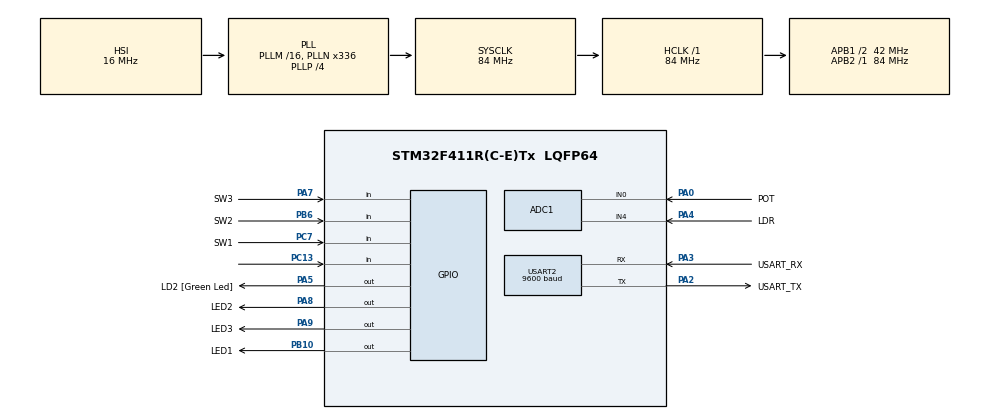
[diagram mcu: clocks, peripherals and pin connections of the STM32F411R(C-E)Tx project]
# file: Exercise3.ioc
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ADC1.Channel-1\#ChannelRegularConversion=ADC_CHANNEL_0
ADC1.NbrOfConversionFlag=1
ADC1.Rank-1\#ChannelRegularConversion=1
ADC1.SamplingTime-1\#ChannelRegularConversion=ADC_SAMPLETIME_3CYCLES
ADC1.master=1
IWDG.Prescaler=IWDG_PRESCALER_64
IWDG.Reload=2000-1
Mcu.Family=STM32F4
Mcu.Name=STM32F411R(C-E)Tx
Mcu.Package=LQFP64
NVIC.PriorityGroup=NVIC_PRIORITYGROUP_0
NVIC.TIM1_TRG_COM_TIM11_IRQn=true\:0\:0\:false\:false\:true\:true\:true\:true
NVIC.USART2_IRQn=true\:0\:0\:false\:false\:true\:true\:true\:true
PA0-WKUP.GPIO_Label=POT
PA0-WKUP.Signal=ADCx_IN0
PA13.GPIO_Label=TMS
PA13.Mode=Serial_Wire
PA13.Signal=SYS_JTMS-SWDIO
PA14.GPIO_Label=TCK
PA14.Mode=Serial_Wire
PA14.Signal=SYS_JTCK-SWCLK
PA2.GPIO_Label=USART_TX
PA2.Mode=Asynchronous
PA2.Signal=USART2_TX
PA3.GPIO_Label=USART_RX
PA3.Mode=Asynchronous
PA3.Signal=USART2_RX
PA4.GPIO_Label=LDR
PA4.Signal=ADCx_IN4
PA5.GPIO_Label=LD2 [Green Led]
PA5.Signal=GPIO_Output
PA7.GPIO_Label=SW3
PA7.Signal=GPIO_Input
PA8.GPIO_Label=LED2
PA8.Signal=GPIO_Output
PA9.GPIO_Label=LED3
PA9.Signal=GPIO_Output
PB10.GPIO_Label=LED1
PB10.Signal=GPIO_Output
PB3.GPIO_Label=SWO
PB3.Signal=SYS_JTDO-SWO
PB6.GPIO_Label=SW2
PB6.Signal=GPIO_Input
PC13-ANTI_TAMP.Signal=GPIO_Input
PC14-OSC32_IN.Mode=LSE-External-Oscillator
PC14-OSC32_IN.Signal=RCC_OSC32_IN
PC15-OSC32_OUT.Mode=LSE-External-Oscillator
PC15-OSC32_OUT.Signal=RCC_OSC32_OUT
PC7.GPIO_Label=SW1
PC7.Signal=GPIO_Input
PH0\ -\ OSC_IN.Mode=HSE-External-Clock-Source
PH0\ -\ OSC_IN.Signal=RCC_OSC_IN
PH1\ -\ OSC_OUT.Mode=HSE-External-Clock-Source
PH1\ -\ OSC_OUT.Signal=RCC_OSC_OUT
ProjectManager.HeapSize=0x200
ProjectManager.StackSize=0x400
ProjectManager.TargetToolchain=STM32CubeIDE
RCC.48MHZClocksFreq_Value=84000000
RCC.AHBFreq_Value=84000000
RCC.APB1CLKDivider=RCC_HCLK_DIV2
RCC.APB1Freq_Value=42000000
RCC.APB1TimFreq_Value=84000000
RCC.APB2Freq_Value=84000000
RCC.APB2TimFreq_Value=84000000
RCC.CortexFreq_Value=84000000
RCC.FLatency-AdvancedSettings=FLASH_LATENCY_2
RCC.HCLKFreq_Value=84000000
RCC.HSE_VALUE=8000000
RCC.HSI_VALUE=16000000
RCC.PLLN=336
RCC.PLLP=RCC_PLLP_DIV4
RCC.SYSCLKFreq_VALUE=84000000
RCC.SYSCLKSource=RCC_SYSCLKSOURCE_PLLCLK
RCC.VCOOutputFreq_Value=336000000
SH.ADCx_IN0.0=ADC1_IN0,IN0
SH.ADCx_IN4.0=ADC1_IN4,IN4
TIM11.Period=3700-1
TIM11.Prescaler=84-1
USART2.BaudRate=9600
USART2.VirtualMode=VM_ASYNC
VP_IWDG_VS_IWDG.Mode=IWDG_Activate
VP_TIM11_VS_ClockSourceINT.Mode=Enable_Timer
board=NUCLEO-F411RE

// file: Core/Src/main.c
/* USER CODE BEGIN Header */
/**
 ******************************************************************************
 * @file           : main.c
 * @brief          : Main program body
 ******************************************************************************
 * @attention
 *
 * Copyright (c) 2022 STMicroelectronics.
 * All rights reserved.
 *
 * This software is licensed under terms that can be found in the LICENSE file
 * in the root directory of this software component.
 * If no LICENSE file comes with this software, it is provided AS-IS.
 *
 ******************************************************************************
 */
/* USER CODE END Header */
#include "main.h"

 ADC_HandleTypeDef hadc1;

IWDG_HandleTypeDef hiwdg;

TIM_HandleTypeDef htim11;

UART_HandleTypeDef huart2;

/* USER CODE BEGIN PV */
extern int TxPacketReady, TxPacketSize;
extern unsigned char data[15];
extern uint8_t buffer[8];
extern unsigned short HR[8];

/* USER CODE END PV */

void SystemClock_Config(void);
static void MX_GPIO_Init(void);
static void MX_USART2_UART_Init(void);
static void MX_ADC1_Init(void);
static void MX_TIM11_Init(void);
static void MX_IWDG_Init(void);
/* USER CODE BEGIN PFP */

uint16_t ReadADC(int	ch)
{
	uint16_t ADCvalue;
	/** Configure for the selected ADC regular channel its corresponding rank in the sequencer and its sample time.
	*/
	ADC_ChannelConfTypeDef sConfig = {0};
	sConfig.Channel = ch;
	sConfig.Rank = 1;
	sConfig.SamplingTime = ADC_SAMPLETIME_84CYCLES;
	if (HAL_ADC_ConfigChannel(&hadc1, &sConfig) != HAL_OK)
	{
	  Error_Handler();
	}
	HAL_ADC_Start(&hadc1);
	HAL_ADC_PollForConversion(&hadc1, 1000);
	ADCvalue = HAL_ADC_GetValue(&hadc1);
	HAL_ADC_Stop(&hadc1);

	return ADCvalue;
}

/* USER CODE END PFP */

/* USER CODE BEGIN 0 */
unsigned short CRC16(unsigned char*, unsigned short);
void Modbus_handler(uint8_t*);
/* USER CODE END 0 */

int main(void)
{

  /* MCU Configuration--------------------------------------------------------*/

  /* Reset of all peripherals, Initializes the Flash interface and the Systick. */
  HAL_Init();

  /* Configure the system clock */
  SystemClock_Config();

  /* Initialize all configured peripherals */
  MX_GPIO_Init();
  MX_USART2_UART_Init();
  MX_ADC1_Init();
  MX_TIM11_Init();
  MX_IWDG_Init();
  /* USER CODE BEGIN 2 */

  HR[0] = 1234;	// set up my slave ID (1234)

  // Start LED
  HAL_GPIO_WritePin(LED2_GPIO_Port, LED2_Pin, SET);
  HAL_Delay(3000); // Wait 3s (3000ms)
  HAL_GPIO_WritePin(LED2_GPIO_Port, LED2_Pin, RESET);

  /* USER CODE END 2 */

  /* Infinite loop */
  /* USER CODE BEGIN WHILE */

	while (1) {
//		HAL_IWDG_Refresh(&hiwdg); // Optional
		IWDG -> KR = 0xAAAA;

		if(HR[5]==0)	// HR[5]==0
		  		HAL_GPIO_WritePin(LED1_GPIO_Port, LED1_Pin, RESET);
		else
		  		HAL_GPIO_WritePin(LED1_GPIO_Port, LED1_Pin, SET);

		if(HR[6]==0)	// HR[6]==0
				HAL_GPIO_WritePin(LED2_GPIO_Port, LED2_Pin, RESET);
		else
				HAL_GPIO_WritePin(LED2_GPIO_Port, LED2_Pin, SET);

		if(HR[7]==0)	// HR[7]==0
				HAL_GPIO_WritePin(LED3_GPIO_Port, LED3_Pin, RESET);
		else
				HAL_GPIO_WritePin(LED3_GPIO_Port, LED3_Pin, SET);

		if(TxPacketReady == 1){				// Tx packet is waiting for transmission?
			HAL_UART_Transmit(&huart2, data, TxPacketSize, 50);	// send the packet to the master

			TxPacketReady = 0;				// transmission is done
		}

    /* USER CODE END WHILE */

  }
}

void SystemClock_Config(void)
{
  RCC_OscInitTypeDef RCC_OscInitStruct = {0};
  RCC_ClkInitTypeDef RCC_ClkInitStruct = {0};

  /** Configure the main internal regulator output voltage
  */
  __HAL_RCC_PWR_CLK_ENABLE();
  __HAL_PWR_VOLTAGESCALING_CONFIG(PWR_REGULATOR_VOLTAGE_SCALE1);

  /** Initializes the RCC Oscillators according to the specified parameters
  * in the RCC_OscInitTypeDef structure.
  */
  RCC_OscInitStruct.OscillatorType = RCC_OSCILLATORTYPE_HSI|RCC_OSCILLATORTYPE_LSI;
  RCC_OscInitStruct.HSIState = RCC_HSI_ON;
  RCC_OscInitStruct.HSICalibrationValue = RCC_HSICALIBRATION_DEFAULT;
  RCC_OscInitStruct.LSIState = RCC_LSI_ON;
  RCC_OscInitStruct.PLL.PLLState = RCC_PLL_ON;
  RCC_OscInitStruct.PLL.PLLSource = RCC_PLLSOURCE_HSI;
  RCC_OscInitStruct.PLL.PLLM = 16;
  RCC_OscInitStruct.PLL.PLLN = 336;
  RCC_OscInitStruct.PLL.PLLP = RCC_PLLP_DIV4;
  RCC_OscInitStruct.PLL.PLLQ = 4;
  if (HAL_RCC_OscConfig(&RCC_OscInitStruct) != HAL_OK)
  {
    Error_Handler();
  }

  /** Initializes the CPU, AHB and APB buses clocks
  */
  RCC_ClkInitStruct.ClockType = RCC_CLOCKTYPE_HCLK|RCC_CLOCKTYPE_SYSCLK
                              |RCC_CLOCKTYPE_PCLK1|RCC_CLOCKTYPE_PCLK2;
  RCC_ClkInitStruct.SYSCLKSource = RCC_SYSCLKSOURCE_PLLCLK;
  RCC_ClkInitStruct.AHBCLKDivider = RCC_SYSCLK_DIV1;
  RCC_ClkInitStruct.APB1CLKDivider = RCC_HCLK_DIV2;
  RCC_ClkInitStruct.APB2CLKDivider = RCC_HCLK_DIV1;

  if (HAL_RCC_ClockConfig(&RCC_ClkInitStruct, FLASH_LATENCY_2) != HAL_OK)
  {
    Error_Handler();
  }
}

static void MX_ADC1_Init(void)
{

  ADC_ChannelConfTypeDef sConfig = {0};

  /** Configure the global features of the ADC (Clock, Resolution, Data Alignment and number of conversion)
  */
  hadc1.Instance = ADC1;
  hadc1.Init.ClockPrescaler = ADC_CLOCK_SYNC_PCLK_DIV4;
  hadc1.Init.Resolution = ADC_RESOLUTION_12B;
  hadc1.Init.ScanConvMode = DISABLE;
  hadc1.Init.ContinuousConvMode = DISABLE;
  hadc1.Init.DiscontinuousConvMode = DISABLE;
  hadc1.Init.ExternalTrigConvEdge = ADC_EXTERNALTRIGCONVEDGE_NONE;
  hadc1.Init.ExternalTrigConv = ADC_SOFTWARE_START;
  hadc1.Init.DataAlign = ADC_DATAALIGN_RIGHT;
  hadc1.Init.NbrOfConversion = 1;
  hadc1.Init.DMAContinuousRequests = DISABLE;
  hadc1.Init.EOCSelection = ADC_EOC_SINGLE_CONV;
  if (HAL_ADC_Init(&hadc1) != HAL_OK)
  {
    Error_Handler();
  }

  /** Configure for the selected ADC regular channel its corresponding rank in the sequencer and its sample time.
  */
  sConfig.Channel = ADC_CHANNEL_0;
  sConfig.Rank = 1;
  sConfig.SamplingTime = ADC_SAMPLETIME_3CYCLES;
  if (HAL_ADC_ConfigChannel(&hadc1, &sConfig) != HAL_OK)
  {
    Error_Handler();
  }

}

static void MX_IWDG_Init(void)
{

  hiwdg.Instance = IWDG;
  hiwdg.Init.Prescaler = IWDG_PRESCALER_64;
  hiwdg.Init.Reload = 2000-1;
  if (HAL_IWDG_Init(&hiwdg) != HAL_OK)
  {
    Error_Handler();
  }

}

static void MX_TIM11_Init(void)
{

  htim11.Instance = TIM11;
  htim11.Init.Prescaler = 84-1;
  htim11.Init.CounterMode = TIM_COUNTERMODE_UP;
  htim11.Init.Period = 3700-1;
  htim11.Init.ClockDivision = TIM_CLOCKDIVISION_DIV1;
  htim11.Init.AutoReloadPreload = TIM_AUTORELOAD_PRELOAD_DISABLE;
  if (HAL_TIM_Base_Init(&htim11) != HAL_OK)
  {
    Error_Handler();
  }
  /* USER CODE BEGIN TIM11_Init 2 */
  //clear interrupt | TIM->SR (UIF)
  TIM11->SR &= 0xFFFE;

  //TO DO #1: enable timer update interrupt
  TIM11->DIER |= 1;

  TIM11->CR1 &= 0xFFFE;
  /* USER CODE END TIM11_Init 2 */

}

static void MX_USART2_UART_Init(void)
{

  huart2.Instance = USART2;
  huart2.Init.BaudRate = 9600;
  huart2.Init.WordLength = UART_WORDLENGTH_8B;
  huart2.Init.StopBits = UART_STOPBITS_1;
  huart2.Init.Parity = UART_PARITY_NONE;
  huart2.Init.Mode = UART_MODE_TX_RX;
  huart2.Init.HwFlowCtl = UART_HWCONTROL_NONE;
  huart2.Init.OverSampling = UART_OVERSAMPLING_16;
  if (HAL_UART_Init(&huart2) != HAL_OK)
  {
    Error_Handler();
  }
  /* USER CODE BEGIN USART2_Init 2 */

  // TO DO #2: enable USART Rx Interrupt
  USART2->CR1 = USART2->CR1 | 0x20;

  /* USER CODE END USART2_Init 2 */

}

static void MX_GPIO_Init(void)
{
  GPIO_InitTypeDef GPIO_InitStruct = {0};

  /* GPIO Ports Clock Enable */
  __HAL_RCC_GPIOC_CLK_ENABLE();
  __HAL_RCC_GPIOH_CLK_ENABLE();
  __HAL_RCC_GPIOA_CLK_ENABLE();
  __HAL_RCC_GPIOB_CLK_ENABLE();

  /*Configure GPIO pin Output Level */
  HAL_GPIO_WritePin(GPIOA, LD2_Pin|LED2_Pin|LED3_Pin, GPIO_PIN_RESET);

  /*Configure GPIO pin Output Level */
  HAL_GPIO_WritePin(LED1_GPIO_Port, LED1_Pin, GPIO_PIN_RESET);

  /*Configure GPIO pins : PC13 SW1_Pin */
  GPIO_InitStruct.Pin = GPIO_PIN_13|SW1_Pin;
  GPIO_InitStruct.Mode = GPIO_MODE_INPUT;
  GPIO_InitStruct.Pull = GPIO_NOPULL;
  HAL_GPIO_Init(GPIOC, &GPIO_InitStruct);

  /*Configure GPIO pins : LD2_Pin LED2_Pin LED3_Pin */
  GPIO_InitStruct.Pin = LD2_Pin|LED2_Pin|LED3_Pin;
  GPIO_InitStruct.Mode = GPIO_MODE_OUTPUT_PP;
  GPIO_InitStruct.Pull = GPIO_NOPULL;
  GPIO_InitStruct.Speed = GPIO_SPEED_FREQ_LOW;
  HAL_GPIO_Init(GPIOA, &GPIO_InitStruct);

  /*Configure GPIO pin : SW3_Pin */
  GPIO_InitStruct.Pin = SW3_Pin;
  GPIO_InitStruct.Mode = GPIO_MODE_INPUT;
  GPIO_InitStruct.Pull = GPIO_NOPULL;
  HAL_GPIO_Init(SW3_GPIO_Port, &GPIO_InitStruct);

  /*Configure GPIO pin : LED1_Pin */
  GPIO_InitStruct.Pin = LED1_Pin;
  GPIO_InitStruct.Mode = GPIO_MODE_OUTPUT_PP;
  GPIO_InitStruct.Pull = GPIO_NOPULL;
  GPIO_InitStruct.Speed = GPIO_SPEED_FREQ_LOW;
  HAL_GPIO_Init(LED1_GPIO_Port, &GPIO_InitStruct);

  /*Configure GPIO pin : SW2_Pin */
  GPIO_InitStruct.Pin = SW2_Pin;
  GPIO_InitStruct.Mode = GPIO_MODE_INPUT;
  GPIO_InitStruct.Pull = GPIO_NOPULL;
  HAL_GPIO_Init(SW2_GPIO_Port, &GPIO_InitStruct);

}

void Error_Handler(void)
{
	__disable_irq();
	while (1) {
	}
}
